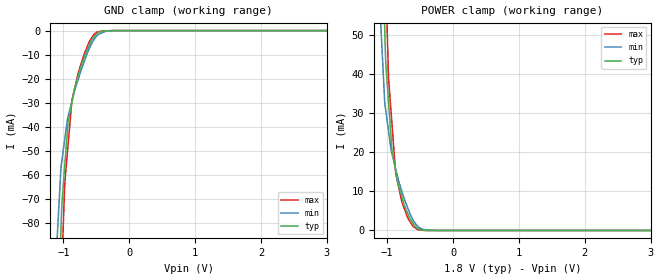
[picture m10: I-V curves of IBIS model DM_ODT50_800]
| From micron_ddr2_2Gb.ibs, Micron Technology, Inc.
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|   MODEL DM_ODT50_800 (DM Input model with 50 Ohm ODT Submodel)
[Model]   DM_ODT50_800
Model_type   Input
Vinl = 700.000mV
Vinh = 1.100V
|   typ   min   max
C_comp   3.165pF   2.9393pF   3.338pF
| Note: C_comp increases when the ODT circuit is enabled.
[Model Spec]
| Input threshold voltage corners
Vinl   0.700V   0.650V   0.750V
Vinh   1.100V   1.050V   1.150V
[Receiver Thresholds]
Vth   =  0.900V
Vth_min  =  0.882V
Vth_max  =  0.918V
Vinh_ac  =  0.200V
Vinh_dc  =  0.125V
Vinl_ac  = -0.200V
Vinl_dc  = -0.125V
Tslew_ac =  5.000ns |Not specified, so set to high value
Threshold_sensitivity = 0.50
Reference_supply Pullup_ref
[Voltage Range]   1.800V   1.700V   1.900V
[Pullup Reference]   1.800V   1.700V   1.900V
| Junction Temperature (Ambient temp is 25C typ, 85C min, 0C max)
[Temperature Range]   40.0   100.0   0.0
[Add Submodel]
| Submodel Name   Mode
50ohm_ODT_800   Non-Driving
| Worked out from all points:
|   GND clamp passes 1 mA (typ) near -0.48 V on its own axis
|   POWER clamp passes 1 mA (typ) near -0.58 V on its own axis
[GND Clamp]
|   Voltage   I(typ)   I(min)   I(max)
-1.8V     -803.9mA   -711.7mA   -858.5mA
-1.135V   -154.1mA   -106.2mA   -181.1mA
-1.04V    -84.2mA    -58.49mA   -109.4mA
-1.02V    -70.73mA   -53.47mA   -94.29mA
-975mV    -54.54mA   -44.22mA   -62.08mA
-930mV    -38.35mA   -35.79mA   -47.75mA
-870mV    -29.62mA   -29.36mA   -28.83mA
-690mV    -11.56mA   -13.35mA   -10.16mA
-605mV    -5.858mA   -7.344mA   -4.484mA
-490mV    -1.138mA   -2.125mA   -644.5uA
-265mV    0A         -96.02uA   NA
3.6V      0A         0A         0A
[POWER Clamp]
|   Voltage   I(typ)   I(min)   I(max)
-1.8V     610.1mA    529.4mA    658.9mA
-1.135V   105.4mA    65.17mA    129.7mA
-1.04V    52.51mA    33.52mA    74.28mA
-1.02V    42.42mA    30.4mA     62.62mA
-975mV    31.68mA    24.84mA    37.84mA
-930mV    20.93mA    19.74mA    27.79mA
-870mV    15.17mA    15.62mA    14.52mA
-780mV    8.716mA    10.15mA    7.437mA
-690mV    4.383mA    5.845mA    3.308mA
-535mV    562.7uA    1.025mA    231uA
-326mV    0A         NA         NA
3.6V      0A         0A         0A
